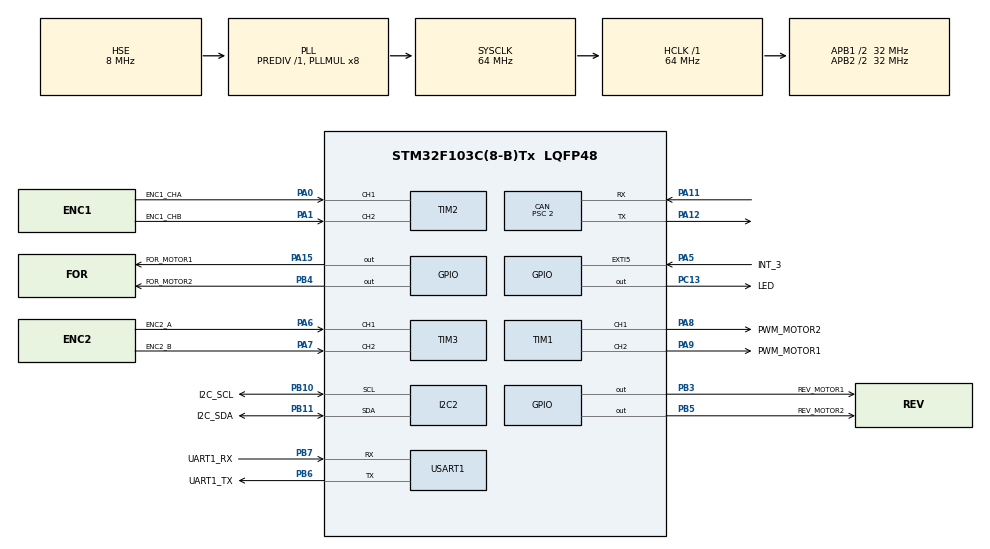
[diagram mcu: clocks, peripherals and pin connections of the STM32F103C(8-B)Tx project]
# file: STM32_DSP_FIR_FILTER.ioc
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CAN.BS1=CAN_BS1_13TQ
CAN.BS2=CAN_BS2_2TQ
CAN.CalculateBaudRate=1000000
CAN.CalculateTimeBit=1000
CAN.CalculateTimeQuantum=62.5
CAN.Prescaler=2
Mcu.Family=STM32F1
Mcu.Name=STM32F103C(8-B)Tx
Mcu.Package=LQFP48
NVIC.CAN1_RX1_IRQn=true\:0\:0\:false\:false\:true\:true\:true\:true
NVIC.PriorityGroup=NVIC_PRIORITYGROUP_4
NVIC.TIM3_IRQn=true\:0\:0\:false\:false\:true\:true\:true\:true
PA0-WKUP.GPIO_Label=ENC1_CHA
PA0-WKUP.Signal=S_TIM2_CH1_ETR
PA1.GPIO_Label=ENC1_CHB
PA1.Signal=S_TIM2_CH2
PA11.GPIO_PuPd=GPIO_PULLUP
PA11.Mode=CAN_Activate
PA11.Signal=CAN_RX
PA12.Mode=CAN_Activate
PA12.Signal=CAN_TX
PA13.Mode=Serial_Wire
PA13.Signal=SYS_JTMS-SWDIO
PA14.Mode=Serial_Wire
PA14.Signal=SYS_JTCK-SWCLK
PA15.GPIO_Label=FOR_MOTOR1
PA15.Signal=GPIO_Output
PA5.GPIO_Label=INT_3
PA5.Signal=GPXTI5
PA6.GPIO_Label=ENC2_A
PA6.Signal=S_TIM3_CH1
PA7.GPIO_Label=ENC2_B
PA7.Signal=S_TIM3_CH2
PA8.GPIO_Label=PWM_MOTOR2
PA8.Signal=S_TIM1_CH1
PA9.GPIO_Label=PWM_MOTOR1
PA9.Signal=S_TIM1_CH2
PB10.GPIO_Label=I2C_SCL
PB10.Mode=I2C
PB10.Signal=I2C2_SCL
PB11.GPIO_Label=I2C_SDA
PB11.Mode=I2C
PB11.Signal=I2C2_SDA
PB3.GPIO_Label=REV_MOTOR1
PB3.Signal=GPIO_Output
PB4.GPIO_Label=FOR_MOTOR2
PB4.Signal=GPIO_Output
PB5.GPIO_Label=REV_MOTOR2
PB5.Signal=GPIO_Output
PB6.GPIO_Label=UART1_TX
PB6.Mode=Asynchronous
PB6.Signal=USART1_TX
PB7.GPIO_Label=UART1_RX
PB7.Mode=Asynchronous
PB7.Signal=USART1_RX
PC13-TAMPER-RTC.GPIO_Label=LED
PC13-TAMPER-RTC.Signal=GPIO_Output
PD0-OSC_IN.Mode=HSE-External-Oscillator
PD0-OSC_IN.Signal=RCC_OSC_IN
PD1-OSC_OUT.Mode=HSE-External-Oscillator
PD1-OSC_OUT.Signal=RCC_OSC_OUT
ProjectManager.HeapSize=0x200
ProjectManager.StackSize=0x400
ProjectManager.TargetToolchain=CMake
RCC.AHBFreq_Value=64000000
RCC.APB1CLKDivider=RCC_HCLK_DIV2
RCC.APB1Freq_Value=32000000
RCC.APB1TimFreq_Value=64000000
RCC.APB2CLKDivider=RCC_HCLK_DIV2
RCC.APB2Freq_Value=32000000
RCC.APB2TimFreq_Value=64000000
RCC.HCLKFreq_Value=64000000
RCC.PLLMUL=RCC_PLL_MUL8
RCC.PLLSourceVirtual=RCC_PLLSOURCE_HSE
RCC.SYSCLKFreq_VALUE=64000000
RCC.SYSCLKSource=RCC_SYSCLKSOURCE_PLLCLK
RCC.USBFreq_Value=64000000
SH.S_TIM1_CH1.0=TIM1_CH1,PWM Generation1 CH1
SH.S_TIM1_CH2.0=TIM1_CH2,PWM Generation2 CH2
SH.S_TIM2_CH1_ETR.0=TIM2_CH1,Encoder_Interface
SH.S_TIM2_CH2.0=TIM2_CH2,Encoder_Interface
SH.S_TIM3_CH1.0=TIM3_CH1,Encoder_Interface
SH.S_TIM3_CH2.0=TIM3_CH2,Encoder_Interface
STMicroelectronics.X-CUBE-ALGOBUILD.1.4.0.LibraryCcDSPOoLibraryJjDSPOoLibrary=true
TIM1.Channel-PWM\ Generation1\ CH1=TIM_CHANNEL_1
TIM1.Channel-PWM\ Generation2\ CH2=TIM_CHANNEL_2
TIM3.EncoderMode=TIM_ENCODERMODE_TI12
USART1.VirtualMode=VM_ASYNC
VP_STMicroelectronics.X-CUBE-ALGOBUILD_VS_DSPOoLibraryJjLibrary_1.4.0_1.4.0.Mode=DSPOoLibraryJjLibrary
board=custom

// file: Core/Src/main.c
/* USER CODE BEGIN Header */
/**
  ******************************************************************************
  * @file           : main.c
  * @brief          : Main program body
  ******************************************************************************
  * @attention
  *
  * Copyright (c) 2025 STMicroelectronics.
  * All rights reserved.
  *
  * This software is licensed under terms that can be found in the LICENSE file
  * in the root directory of this software component.
  * If no LICENSE file comes with this software, it is provided AS-IS.
  *
  ******************************************************************************
  */
/* USER CODE END Header */
#include "main.h"
#include "can.h"
#include "i2c.h"
#include "tim.h"
#include "usart.h"
#include "gpio.h"

/* USER CODE BEGIN Includes */
#include "arm_math.h"
#include "cmps12.h"
/* USER CODE END Includes */

/* USER CODE BEGIN PD */
#define FILTER_LENGTH 50
#define FIR_LENGTH      8
/* USER CODE END PD */

/* USER CODE BEGIN PV */

// FIR filter instances ========================
float32_t fir_coefficients[FIR_LENGTH] = {0.0714,0.1030,0.1455,0.1711,0.1711,0.1455,0.1030,0.0714};
arm_fir_instance_f32 fir_instance_accel_x;
arm_fir_instance_f32 fir_instance_accel_y;
arm_fir_instance_f32 fir_instance_accel_z;
arm_fir_instance_f32 fir_instance_gyro_x;
arm_fir_instance_f32 fir_instance_gyro_y;
arm_fir_instance_f32 fir_instance_gyro_z;

float32_t fir_state_accel_x[FIR_LENGTH];
float32_t fir_state_accel_y[FIR_LENGTH];
float32_t fir_state_accel_z[FIR_LENGTH];
float32_t fir_state_gyro_x[FIR_LENGTH];
float32_t fir_state_gyro_y[FIR_LENGTH];
float32_t fir_state_gyro_z[FIR_LENGTH];

float32_t fir_in_accel_x, fir_in_accel_y, fir_in_accel_z;
float32_t fir_in_gyro_x, fir_in_gyro_y, fir_in_gyro_z;

float32_t fir_out_accel_x, fir_out_accel_y, fir_out_accel_z;
float32_t fir_out_gyro_x, fir_out_gyro_y, fir_out_gyro_z;

float32_t filtered_accel_x, filtered_accel_y, filtered_accel_z;
float32_t filtered_gyro_x, filtered_gyro_y, filtered_gyro_z;

// Sensor Variables ============================
CMPS12_Data cmps12;
uint16_t angle, temp;
int16_t accel_x, accel_y, accel_z;  // Raw accelerometer data
int16_t gyro_x, gyro_y, gyro_z;      // Raw gyroscope data

/* USER CODE END PV */

void SystemClock_Config(void);

int main(void)
{

  /* MCU Configuration--------------------------------------------------------*/

  /* Reset of all peripherals, Initializes the Flash interface and the Systick. */
  HAL_Init();

  /* Configure the system clock */
  SystemClock_Config();

  /* Initialize all configured peripherals */
  MX_GPIO_Init();
  MX_TIM1_Init();
  MX_CAN_Init();
  MX_USART1_UART_Init();
  MX_I2C2_Init();
  MX_TIM3_Init();
  MX_TIM2_Init();
  /* USER CODE BEGIN 2 */
    // Initialize FIR filter instances
    arm_fir_init_f32(&fir_instance_accel_x, FIR_LENGTH, fir_coefficients, fir_state_accel_x, 1);
    arm_fir_init_f32(&fir_instance_accel_y, FIR_LENGTH, fir_coefficients, fir_state_accel_y, 1);
    arm_fir_init_f32(&fir_instance_accel_z, FIR_LENGTH, fir_coefficients, fir_state_accel_z, 1);
    arm_fir_init_f32(&fir_instance_gyro_x, FIR_LENGTH, fir_coefficients, fir_state_gyro_x, 1);
    arm_fir_init_f32(&fir_instance_gyro_y, FIR_LENGTH, fir_coefficients, fir_state_gyro_y, 1);
    arm_fir_init_f32(&fir_instance_gyro_z, FIR_LENGTH, fir_coefficients, fir_state_gyro_z, 1);

    // Initialize your sensor (replace with actual initialization function)
    CMPS12_Init(&cmps12, &hi2c2);
  /* USER CODE END 2 */

  /* Infinite loop */
  /* USER CODE BEGIN WHILE */
    while (1) {
        // Read raw sensor data (replace with actual functions to read accelerometer and gyroscope)
        accel_x = CMPS12_GetAccelX(&cmps12);
        accel_y = CMPS12_GetAccelY(&cmps12);
        accel_z = CMPS12_GetAccelZ(&cmps12);
        gyro_x = CMPS12_GetGyroX(&cmps12);
        gyro_y = CMPS12_GetGyroY(&cmps12);
        gyro_z = CMPS12_GetGyroZ(&cmps12);

        // Apply FIR filter to accelerometer data
        fir_in_accel_x = (float32_t)accel_x;
        arm_fir_f32(&fir_instance_accel_x, &fir_in_accel_x, &fir_out_accel_x, 1);
        filtered_accel_x = fir_out_accel_x;  // Store the filtered accelerometer x

        fir_in_accel_y = (float32_t)accel_y;
        arm_fir_f32(&fir_instance_accel_y, &fir_in_accel_y, &fir_out_accel_y, 1);
        filtered_accel_y = fir_out_accel_y;  // Store the filtered accelerometer y

        fir_in_accel_z = (float32_t)accel_z;
        arm_fir_f32(&fir_instance_accel_z, &fir_in_accel_z, &fir_out_accel_z, 1);
        filtered_accel_z = fir_out_accel_z;  // Store the filtered accelerometer z

        // Apply FIR filter to gyroscope data
        fir_in_gyro_x = (float32_t)gyro_x;
        arm_fir_f32(&fir_instance_gyro_x, &fir_in_gyro_x, &fir_out_gyro_x, 1);
        filtered_gyro_x = fir_out_gyro_x;  // Store the filtered gyroscope x

        fir_in_gyro_y = (float32_t)gyro_y;
        arm_fir_f32(&fir_instance_gyro_y, &fir_in_gyro_y, &fir_out_gyro_y, 1);
        filtered_gyro_y = fir_out_gyro_y;  // Store the filtered gyroscope y

        fir_in_gyro_z = (float32_t)gyro_z;
        arm_fir_f32(&fir_instance_gyro_z, &fir_in_gyro_z, &fir_out_gyro_z, 1);
        filtered_gyro_z = fir_out_gyro_z;  // Store the filtered gyroscope z

        // Prepare the data to send over USART
        char data_buffer[200];  // Buffer to hold the formatted string
        int len = snprintf(data_buffer, sizeof(data_buffer), "x_f %.2f y_f %.2f z_f %.2f x %d y %d z %d\r\n",
                           filtered_accel_x, filtered_accel_y, filtered_accel_z,
                           accel_x, accel_y, accel_z);

        // Send the data over USART
        if (len > 0) {
            HAL_UART_Transmit(&huart1, (uint8_t*)data_buffer, len, HAL_MAX_DELAY);
        }

        // Optional: Add a delay if needed to control the output rate
        // HAL_GPIO_TogglePin(LED_GPIO_Port, LED_Pin);
        // HAL_Delay(50);  // Adjust the delay as necessary
    }
    /* USER CODE END WHILE */

}

void SystemClock_Config(void)
{
  RCC_OscInitTypeDef RCC_OscInitStruct = {0};
  RCC_ClkInitTypeDef RCC_ClkInitStruct = {0};

  /** Initializes the RCC Oscillators according to the specified parameters
  * in the RCC_OscInitTypeDef structure.
  */
  RCC_OscInitStruct.OscillatorType = RCC_OSCILLATORTYPE_HSE;
  RCC_OscInitStruct.HSEState = RCC_HSE_ON;
  RCC_OscInitStruct.HSEPredivValue = RCC_HSE_PREDIV_DIV1;
  RCC_OscInitStruct.HSIState = RCC_HSI_ON;
  RCC_OscInitStruct.PLL.PLLState = RCC_PLL_ON;
  RCC_OscInitStruct.PLL.PLLSource = RCC_PLLSOURCE_HSE;
  RCC_OscInitStruct.PLL.PLLMUL = RCC_PLL_MUL8;
  if (HAL_RCC_OscConfig(&RCC_OscInitStruct) != HAL_OK)
  {
    Error_Handler();
  }

  /** Initializes the CPU, AHB and APB buses clocks
  */
  RCC_ClkInitStruct.ClockType = RCC_CLOCKTYPE_HCLK|RCC_CLOCKTYPE_SYSCLK
                              |RCC_CLOCKTYPE_PCLK1|RCC_CLOCKTYPE_PCLK2;
  RCC_ClkInitStruct.SYSCLKSource = RCC_SYSCLKSOURCE_PLLCLK;
  RCC_ClkInitStruct.AHBCLKDivider = RCC_SYSCLK_DIV1;
  RCC_ClkInitStruct.APB1CLKDivider = RCC_HCLK_DIV2;
  RCC_ClkInitStruct.APB2CLKDivider = RCC_HCLK_DIV2;

  if (HAL_RCC_ClockConfig(&RCC_ClkInitStruct, FLASH_LATENCY_2) != HAL_OK)
  {
    Error_Handler();
  }
}

void Error_Handler(void)
{
    __disable_irq();
    while (1) {
    }
}
